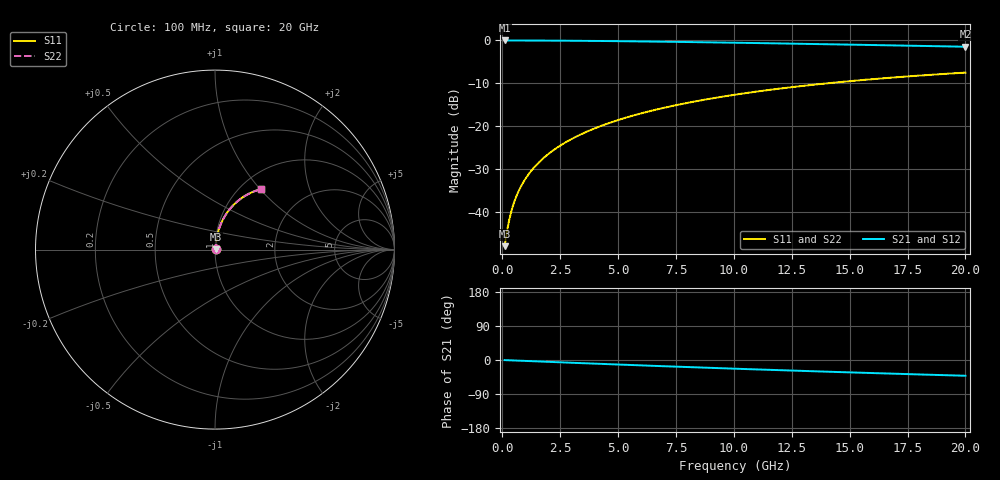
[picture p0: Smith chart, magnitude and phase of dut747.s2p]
! Touchstone file exported from HFSS 2024.1.0
!  File:  C:/UserFiles/LocalFiles/RDL_TSV_Batchsim/temp_RDL_bottom_747_1779859595.aedt
!  Generated:  01:29:02 PM May 27, 2026
!  Design:  RDL_bottom
!  Project:  temp_RDL_bottom_747_1779859595
!  Setup:  Setup1
!  Solution:  Sweep
! Variables:
!  dtsv = 10.80580581um
!  hbump = 3um
!  htsv = 94.87um
!  ldown = 576.82um
!  lrdl = 100um
!  p = 40
!  p1 = 45.79um
!  rhole = 1um
!  t = 450um
!  tdown = 4.43um
!  trdl = 3.915915916um
!  wdown = 14.97um
!  wrdl = 20um
# GHz S MA R 50.000000
! Terminal data exported
! Port[1] = RDL1_T1
! Port[2] = RDL1_T2
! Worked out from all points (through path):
!   200 points, 100 MHz to 20 GHz, reference 50 ohm
!   highest |S21| = -0.03 dB at 100 MHz (marker M1); lowest = -1.5 dB at 20 GHz (marker M2)
!   group delay of S21, straight-line fit = 5.76 ps
!   lowest |S11| = -47.8 dB at 100 MHz (marker M3), VSWR 1.01, Z = 50.3 + j0.253 ohm
!   |S11| at or under -10 dB: start of sweep to 14.01 GHz
!   |S22| runs from -47.8 to -7.5 dB; largest |S21 - S12| = 5.3e-15
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0.1  0.004054 38.4  0.9968 -0.3  0.9968 -0.3  0.004054 38.4
! Gamma 0 0 0 0
! Port Impedance 50 0 50 0
0.2  0.005982 57.0  0.9967 -0.5  0.9967 -0.5  0.005982 57.0
0.3  0.008216 65.7  0.9966 -0.8  0.9966 -0.8  0.008216 65.7
0.4  0.01054 70.4  0.9964 -1.0  0.9964 -1.0  0.01054 70.4
0.5  0.01288 73.3  0.9963 -1.2  0.9963 -1.2  0.01288 73.3
0.6  0.01523 75.3  0.9961 -1.5  0.9961 -1.5  0.01523 75.3
0.8  0.01991 77.7  0.9958 -2.0  0.9958 -2.0  0.01992 77.7
1.1  0.02692 79.7  0.9953 -2.7  0.9953 -2.7  0.02693 79.7
1.5  0.03628 80.9  0.9944 -3.7  0.9944 -3.7  0.03628 80.9
1.8  0.04331 81.4  0.9937 -4.4  0.9937 -4.4  0.04331 81.4
2.1  0.05036 81.6  0.9927 -5.1  0.9927 -5.1  0.05036 81.6
2.7  0.06446 81.5  0.9905 -6.6  0.9905 -6.6  0.06446 81.5
3.5  0.08328 80.9  0.9869 -8.5  0.9869 -8.5  0.08328 80.9
4.2  0.09972 80.1  0.9832 -10.1  0.9832 -10.1  0.09972 80.0
5  0.1185 79.0  0.9783 -12.0  0.9783 -12.0  0.1184 79.0
5.9  0.1394 77.6  0.9722 -14.0  0.9722 -14.0  0.1394 77.6
6.8  0.1603 76.2  0.9656 -16.0  0.9656 -16.0  0.1602 76.1
8.3  0.1945 73.6  0.9536 -19.3  0.9536 -19.3  0.1945 73.6
10.1  0.2346 70.4  0.938 -23.1  0.938 -23.1  0.2346 70.4
13.4  0.3041 64.4  0.9073 -29.7  0.9073 -29.7  0.304 64.4
16.7  0.3667 58.5  0.8752 -35.8  0.8752 -35.8  0.3666 58.5
20  0.4216 52.9  0.8429 -41.6  0.8429 -41.6  0.4214 52.9
